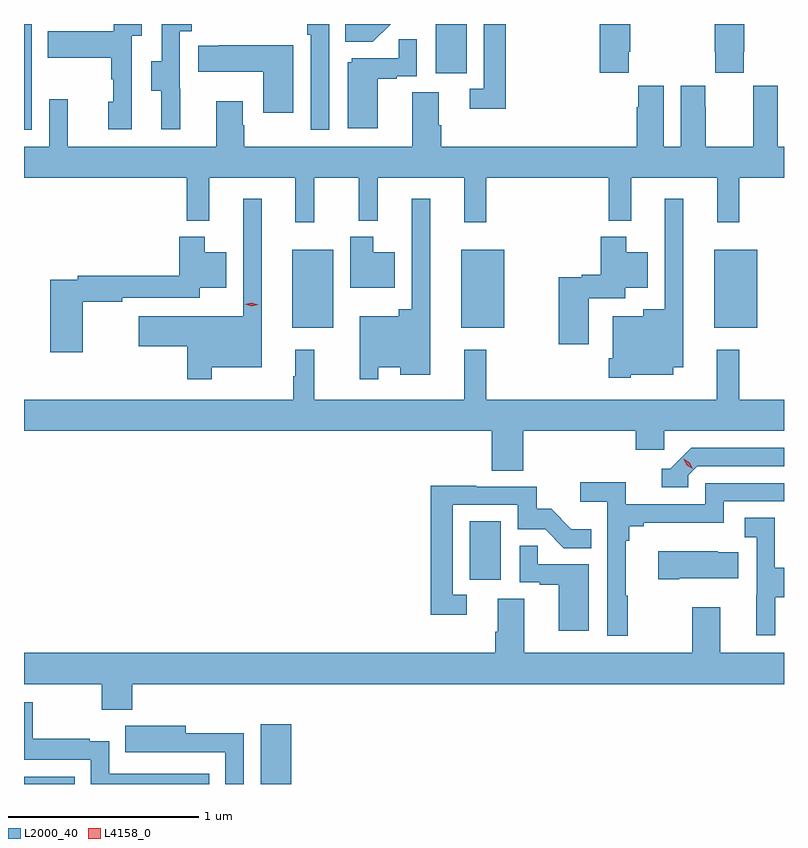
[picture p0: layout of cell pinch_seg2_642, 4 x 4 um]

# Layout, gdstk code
import gdstk
lib = gdstk.Library(unit=1e-6, precision=1e-09)
def R(c, l, rs):  # rectangles x0, y0, x1, y1
    for r in rs: c.add(gdstk.rectangle(r[:2], r[2:], *l))
def P(c, l, *ps):  # polygons
    for p in ps: c.add(gdstk.Polygon(p, *l))
L2000_40 = (2000, 40)
L4158_0 = (4158, 0)

pinch_seg2_642 = lib.new_cell('pinch_seg2_642')
R(pinch_seg2_642, L2000_40, [(1023.002,597.826,1023.269,597.864), (1024.247,597.826,1024.408,598.141), (1025.348,598.902,1025.512,599.209), (1024.415,600.227,1024.63,600.637), (1025.303,600.227,1025.53,600.637), (1026.635,600.227,1026.862,600.637), (1023.002,601.269,1023.042,601.826), (1025.168,601.566,1025.332,601.826)])
P(pinch_seg2_642, L2000_40, [(1026.789,601.681),(1026.792,601.681),(1026.792,601.826),(1026.637,601.826),(1026.637,601.681),(1026.639,601.681),(1026.639,601.569),(1026.789,601.569)],
  [(1024.608,601.826),(1024.492,601.826),(1024.492,601.769),(1024.512,601.769),(1024.512,601.269),(1024.608,601.269)],
  [(1025.537,601.826),(1025.421,601.826),(1025.421,601.485),(1025.349,601.485),(1025.349,601.38),(1025.537,601.38)],
  [(1024.931,601.826),(1024.693,601.826),(1024.693,601.732),(1024.837,601.732)],
  [(1023.824,601.485),(1023.822,601.485),(1023.822,601.789),(1023.886,601.789),(1023.886,601.826),(1023.726,601.826),(1023.726,601.629),(1023.671,601.629),(1023.671,601.474),(1023.725,601.474),(1023.725,601.272),(1023.824,601.272)],
  [(1023.57,601.763),(1023.622,601.763),(1023.622,601.826),(1023.474,601.826),(1023.474,601.789),(1023.127,601.789),(1023.127,601.649),(1023.462,601.649),(1023.462,601.535),(1023.472,601.535),(1023.472,601.416),(1023.446,601.416),(1023.446,601.272),(1023.57,601.272)],
  [(1026.185,601.681),(1026.192,601.681),(1026.192,601.826),(1026.032,601.826),(1026.032,601.569),(1026.185,601.569)],
  [(1024.864,601.539),(1024.964,601.539),(1024.964,601.551),(1025.07,601.551),(1025.07,601.745),(1024.975,601.745),(1024.975,601.647),(1024.728,601.647),(1024.728,601.626),(1024.706,601.626),(1024.706,601.278),(1024.864,601.278)],
  [(1024.42,601.714),(1024.027,601.714),(1024.027,601.711),(1023.919,601.711),(1023.919,601.574),(1024.262,601.574),(1024.262,601.359),(1024.42,601.359)],
  [(1024.53,601.016),(1024.765,601.016),(1024.765,600.791),(1024.865,600.791),(1024.865,601.016),(1025.318,601.016),(1025.318,600.783),(1025.435,600.783),(1025.435,601.016),(1026.079,601.016),(1026.079,600.791),(1026.197,600.791),(1026.197,601.016),(1026.65,601.016),(1026.65,600.783),(1026.767,600.783),(1026.767,601.016),(1027.002,601.016),(1027.002,601.18),(1026.97,601.18),(1026.97,601.501),(1026.84,601.501),(1026.84,601.388),(1026.839,601.388),(1026.839,601.18),(1026.589,601.18),(1026.589,601.388),(1026.588,601.388),(1026.588,601.501),(1026.458,601.501),(1026.458,601.18),(1026.37,601.18),(1026.37,601.501),(1026.236,601.501),(1026.236,601.388),(1026.227,601.388),(1026.227,601.18),(1025.198,601.18),(1025.198,601.292),(1025.185,601.292),(1025.185,601.466),(1025.045,601.466),(1025.045,601.18),(1024.161,601.18),(1024.161,601.292),(1024.153,601.292),(1024.153,601.42),(1024.013,601.42),(1024.013,601.18),(1023.233,601.18),(1023.233,601.429),(1023.135,601.429),(1023.135,601.18),(1023.002,601.18),(1023.002,601.016),(1023.859,601.016),(1023.859,600.791),(1023.977,600.791),(1023.977,601.016),(1024.43,601.016),(1024.43,600.783),(1024.53,600.783)],
  [(1026.195,599.981),(1026.418,599.981),(1026.418,600.02),(1026.472,600.02),(1026.472,600.907),(1026.375,600.907),(1026.375,600.325),(1026.26,600.325),(1026.26,600.289),(1026.101,600.289),(1026.101,600.067),(1026.08,600.067),(1026.08,599.963),(1026.195,599.963)],
  [(1024.866,600.02),(1024.982,600.02),(1024.982,599.981),(1025.14,599.981),(1025.14,600.907),(1025.043,600.907),(1025.043,600.325),(1024.975,600.325),(1024.975,600.289),(1024.77,600.289),(1024.77,599.955),(1024.866,599.955)],
  [(1023.991,600.02),(1024.252,600.02),(1024.252,600.907),(1024.155,600.907),(1024.155,600.289),(1023.606,600.289),(1023.606,600.131),(1023.862,600.131),(1023.862,599.955),(1023.991,599.955)],
  [(1025.974,600.383),(1026.166,600.383),(1026.166,600.437),(1026.286,600.437),(1026.286,600.625),(1026.172,600.625),(1026.172,600.706),(1026.038,600.706),(1026.038,600.506),(1025.937,600.506),(1025.937,600.493),(1025.816,600.493),(1025.816,600.141),(1025.974,600.141)],
  [(1024.954,600.625),(1024.84,600.625),(1024.84,600.706),(1024.718,600.706),(1024.718,600.437),(1024.954,600.437)],
  [(1023.31,600.364),(1023.518,600.364),(1023.518,600.384),(1023.927,600.384),(1023.927,600.437),(1024.066,600.437),(1024.066,600.625),(1023.952,600.625),(1023.952,600.706),(1023.818,600.706),(1023.818,600.5),(1023.286,600.5),(1023.286,600.48),(1023.14,600.48),(1023.14,600.099),(1023.31,600.099)],
  [(1025.63,599.684),(1026.221,599.684),(1026.221,599.586),(1026.372,599.586),(1026.372,599.684),(1027.002,599.684),(1027.002,599.848),(1026.767,599.848),(1026.767,600.112),(1026.649,600.112),(1026.649,599.848),(1025.435,599.848),(1025.435,600.112),(1025.318,600.112),(1025.318,599.848),(1024.53,599.848),(1024.53,600.112),(1024.43,600.112),(1024.43,599.972),(1024.419,599.972),(1024.419,599.848),(1023.002,599.848),(1023.002,599.684),(1025.465,599.684),(1025.465,599.476),(1025.63,599.476)],
  [(1026.498,599.451),(1026.546,599.499),(1027.002,599.499),(1027.002,599.595),(1026.513,599.595),(1026.402,599.484),(1026.359,599.484),(1026.359,599.388),(1026.498,599.388)],
  [(1026.18,598.817),(1026.169,598.817),(1026.169,599.105),(1026.188,599.105),(1026.188,599.182),(1026.265,599.182),(1026.265,599.201),(1026.684,599.201),(1026.684,599.313),(1027.002,599.313),(1027.002,599.409),(1026.588,599.409),(1026.588,599.298),(1026.17,599.298),(1026.17,599.414),(1025.93,599.414),(1025.93,599.312),(1026.072,599.312),(1026.072,598.605),(1026.18,598.605)],
  [(1025.332,598.821),(1025.259,598.821),(1025.259,599.295),(1025.601,599.295),(1025.601,599.166),(1025.745,599.166),(1025.843,599.068),(1025.987,599.068),(1025.987,599.167),(1025.883,599.167),(1025.776,599.274),(1025.7,599.274),(1025.7,599.391),(1025.381,599.391),(1025.381,599.396),(1025.143,599.396),(1025.143,598.716),(1025.332,598.716)],
  [(1026.955,598.81),(1027.002,598.81),(1027.002,598.965),(1026.954,598.965),(1026.954,599.228),(1026.795,599.228),(1026.795,599.125),(1026.858,599.125),(1026.858,598.821),(1026.857,598.821),(1026.857,598.608),(1026.955,598.608)],
  [(1025.974,598.983),(1025.705,598.983),(1025.705,599.081),(1025.61,599.081),(1025.61,598.887),(1025.717,598.887),(1025.717,598.875),(1025.816,598.875),(1025.816,598.632),(1025.974,598.632)],
  [(1026.451,598.91),(1026.761,598.91),(1026.761,599.047),(1026.653,599.047),(1026.653,599.05),(1026.339,599.05),(1026.339,598.903),(1026.451,598.903)],
  [(1023.572,598.352),(1027.002,598.352),(1027.002,598.516),(1026.667,598.516),(1026.667,598.756),(1026.52,598.756),(1026.52,598.516),(1025.635,598.516),(1025.635,598.802),(1025.495,598.802),(1025.495,598.628),(1025.483,598.628),(1025.483,598.516),(1023.002,598.516),(1023.002,598.352),(1023.412,598.352),(1023.412,598.217),(1023.572,598.217)],
  [(1023.976,597.879),(1023.45,597.879),(1023.45,598.051),(1023.347,598.051),(1023.347,598.063),(1023.049,598.063),(1023.049,598.257),(1023.002,598.257),(1023.002,597.954),(1023.354,597.954),(1023.354,597.826),(1023.976,597.826)],
  [(1024.158,598.094),(1023.853,598.094),(1023.853,598.132),(1023.535,598.132),(1023.535,597.992),(1023.749,597.992),(1023.749,597.993),(1024.062,597.993),(1024.062,597.826),(1024.158,597.826)])
P(pinch_seg2_642, L4158_0, [(1024.2,600.34),(1024.165,600.352),(1024.165,600.352),(1024.165,600.352),(1024.201,600.36),(1024.236,600.349),(1024.236,600.349),(1024.236,600.349)],
  [(1026.522,599.485),(1026.491,599.504),(1026.475,599.537),(1026.475,599.537),(1026.475,599.537),(1026.506,599.518),(1026.522,599.485),(1026.522,599.485)])

lib.write_gds('pinch_seg2_642.gds')
